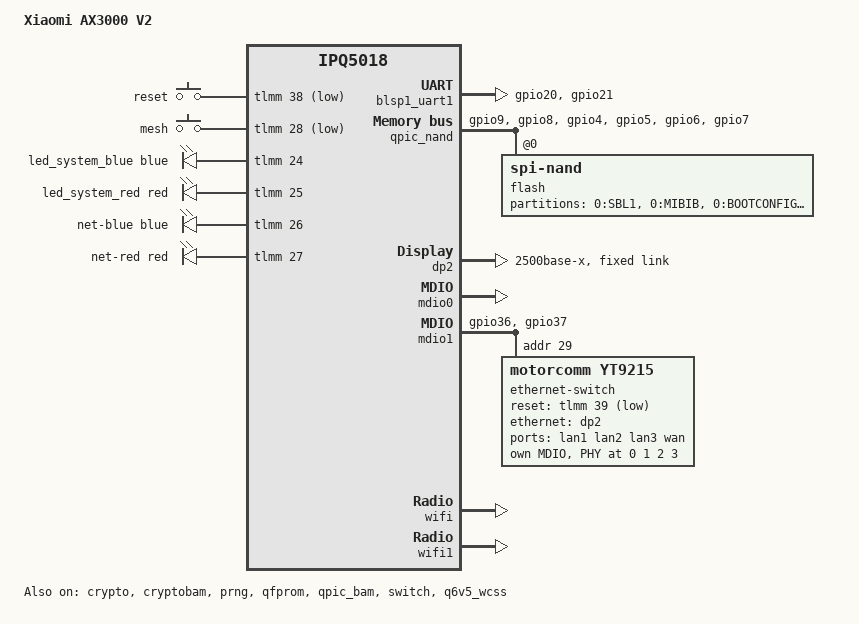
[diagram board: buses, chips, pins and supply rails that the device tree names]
/dts-v1/;

#include "ipq5018.dtsi"
#include "ipq5018-ess.dtsi"
#include "ipq5018-qcn6122.dtsi"

#include <dt-bindings/gpio/gpio.h>
#include <dt-bindings/input/input.h>
#include <dt-bindings/leds/common.h>

/ {
	model = "Xiaomi AX3000 V2";
	compatible = "xiaomi,ax3000-v2", "qcom,ipq5018";

	aliases {
		ethernet0 = &dp2;
		label-mac-device = &dp2;
		led-boot = &led_system_blue;
		led-failsafe = &led_system_red;
		led-running = &led_system_blue;
		led-upgrade = &led_system_red;
		serial0 = &blsp1_uart1;
	};

	chosen {
		bootargs-append = " root=/dev/ram0 coherent_pool=2M";
		bootargs-find-1 = "ubi.mtd=";
		bootargs-replace-1 = "stock-ubi.mtd=";
		bootargs-find-2 = "mtdparts=";
		bootargs-replace-2 = "stock-mtdparts=";
		stdout-path = "serial0:115200n8";
	};

	keys {
		compatible = "gpio-keys";
		pinctrl-0 = <&button_pins>;
		pinctrl-names = "default";

		reset {
			label = "reset";
			gpios = <&tlmm 38 GPIO_ACTIVE_LOW>;
			linux,code = <KEY_RESTART>;
			debounce-interval = <60>;
		};

		mesh {
			label = "mesh";
			gpios = <&tlmm 28 GPIO_ACTIVE_LOW>;
			linux,code = <KEY_WPS_BUTTON>;
			debounce-interval = <60>;
		};
	};

	leds {
		compatible = "gpio-leds";
		pinctrl-0 = <&led_pins>;
		pinctrl-names = "default";

		led_system_blue: system-blue {
			color = <LED_COLOR_ID_BLUE>;
			function = LED_FUNCTION_POWER;
			gpios = <&tlmm 24 GPIO_ACTIVE_HIGH>;
			default-state = "off";
		};

		led_system_red: system-red {
			color = <LED_COLOR_ID_RED>;
			function = LED_FUNCTION_POWER;
			gpios = <&tlmm 25 GPIO_ACTIVE_HIGH>;
			default-state = "off";
		};

		net-blue {
			color = <LED_COLOR_ID_BLUE>;
			function = LED_FUNCTION_WAN;
			gpios = <&tlmm 26 GPIO_ACTIVE_HIGH>;
			default-state = "off";
		};

		net-red {
			color = <LED_COLOR_ID_RED>;
			function = LED_FUNCTION_WAN;
			gpios = <&tlmm 27 GPIO_ACTIVE_HIGH>;
			default-state = "off";
		};
	};
};

&sleep_clk {
	clock-frequency = <32000>;
};

&xo_board_clk {
	clock-div = <4>;
	clock-mult = <1>;
};

&blsp1_uart1 {
	status = "okay";
	pinctrl-0 = <&serial_pins>;
	pinctrl-names = "default";
};

&crypto {
	status = "okay";
};

&cryptobam {
	status = "okay";
};

&prng {
	status = "okay";
};

&qfprom {
	status = "okay";
};

&qpic_bam {
	status = "okay";
};

&qpic_nand {
	status = "okay";
	pinctrl-0 = <&qpic_pins>;
	pinctrl-names = "default";

	flash@0 {
		compatible = "spi-nand";
		reg = <0>;
		nand-ecc-engine = <&qpic_nand>;
		nand-bus-width = <8>;

		partitions {
			compatible = "fixed-partitions";
			#address-cells = <1>;
			#size-cells = <1>;

			partition@0 { label = "0:SBL1"; reg = <0x00000000 0x00080000>; read-only; };
			partition@80000 { label = "0:MIBIB"; reg = <0x00080000 0x00080000>; read-only; };
			partition@100000 { label = "0:BOOTCONFIG"; reg = <0x00100000 0x00040000>; read-only; };
			partition@140000 { label = "0:BOOTCONFIG1"; reg = <0x00140000 0x00040000>; read-only; };
			partition@180000 { label = "0:QSEE"; reg = <0x00180000 0x00100000>; read-only; };
			partition@280000 { label = "0:QSEE_1"; reg = <0x00280000 0x00100000>; read-only; };
			partition@380000 { label = "0:DEVCFG"; reg = <0x00380000 0x00040000>; read-only; };
			partition@3c0000 { label = "0:DEVCFG_1"; reg = <0x003c0000 0x00040000>; read-only; };
			partition@400000 { label = "0:CDT"; reg = <0x00400000 0x00040000>; read-only; };
			partition@440000 { label = "0:CDT_1"; reg = <0x00440000 0x00040000>; read-only; };
			partition@480000 { label = "0:APPSBLENV"; reg = <0x00480000 0x00080000>; read-only; };
			partition@500000 { label = "0:APPSBL"; reg = <0x00500000 0x00140000>; read-only; };
			partition@640000 { label = "0:APPSBL_1"; reg = <0x00640000 0x00140000>; read-only; };

			partition@780000 {
				label = "0:ART";
				reg = <0x00780000 0x00100000>;
				read-only;

				nvmem-layout {
					compatible = "fixed-layout";
					#address-cells = <1>;
					#size-cells = <1>;

					mac_addr_dp2: macaddr@6 {
						reg = <0x6 0x6>;
					};
				};
			};

			partition@880000 { label = "0:TRAINING"; reg = <0x00880000 0x00080000>; read-only; };
			partition@900000 { label = "bdata"; reg = <0x00900000 0x00080000>; read-only; };
			partition@980000 { label = "crash"; reg = <0x00980000 0x00080000>; read-only; };
			partition@a00000 { label = "crash_syslog"; reg = <0x00a00000 0x00080000>; read-only; };
			partition@a80000 { label = "rootfs"; reg = <0x00a80000 0x01e00000>; read-only; };
			partition@2880000 { label = "rootfs_1"; reg = <0x02880000 0x01e00000>; read-only; };
			partition@4680000 { label = "overlay"; reg = <0x04680000 0x03980000>; read-only; };
		};
	};
};

&switch {
	status = "okay";
	switch_mac_mode = <MAC_MODE_SGMII_PLUS>;

	qcom,port_phyinfo {
		port@0 {
			port_id = <1>;
			mdiobus = <&mdio0>;
			phy_address = <7>;
			phy_dac = <0x10 0x10>;
		};

		port@1 {
			port_id = <2>;
			forced-speed = <2500>;
			forced-duplex = <1>;
		};
	};
};

&dp2 {
	status = "okay";
	nvmem-cells = <&mac_addr_dp2>;
	nvmem-cell-names = "mac-address";
	phy-mode = "2500base-x";

	fixed-link {
		speed = <2500>;
		full-duplex;
		pause;
	};
};

&ge_phy {
	qcom,dac-preset-short-cable;
};

&mdio0 {
	status = "okay";
};

&mdio1 {
	status = "okay";
	pinctrl-0 = <&mdio1_pins>;
	pinctrl-names = "default";

	ethernet-switch@1d {
		compatible = "motorcomm,yt9215";
		reg = <0x1d>;
		reset-gpios = <&tlmm 39 GPIO_ACTIVE_LOW>;
		reset-assert-us = <100000>;
		reset-deassert-us = <100000>;

		mdio {
			#address-cells = <1>;
			#size-cells = <0>;

			sw_phy0: ethernet-phy@0 { reg = <0>; };
			sw_phy1: ethernet-phy@1 { reg = <1>; };
			sw_phy2: ethernet-phy@2 { reg = <2>; };
			sw_phy3: ethernet-phy@3 { reg = <3>; };
		};

		ports {
			#address-cells = <1>;
			#size-cells = <0>;

			port@0 {
				reg = <0>;
				label = "lan1";
				phy-mode = "internal";
				phy-handle = <&sw_phy0>;
			};

			port@1 {
				reg = <1>;
				label = "lan2";
				phy-mode = "internal";
				phy-handle = <&sw_phy1>;
			};

			port@2 {
				reg = <2>;
				label = "lan3";
				phy-mode = "internal";
				phy-handle = <&sw_phy2>;
			};

			port@3 {
				reg = <3>;
				label = "wan";
				phy-mode = "internal";
				phy-handle = <&sw_phy3>;
			};

			port@8 {
				reg = <8>;
				ethernet = <&dp2>;
				phy-mode = "2500base-x";

				fixed-link {
					speed = <2500>;
					full-duplex;
					pause;
				};
			};
		};
	};
};

&tlmm {
	button_pins: button-state {
		pins = "gpio38", "gpio28";
		function = "gpio";
		drive-strength = <8>;
		bias-pull-up;
	};

	led_pins: led-state {
		pins = "gpio24", "gpio25", "gpio26", "gpio27";
		function = "gpio";
		drive-strength = <8>;
		bias-pull-down;
	};

	mdio1_pins: mdio-state {
		mdc-pins {
			pins = "gpio36";
			function = "mdc";
			drive-strength = <8>;
			bias-pull-up;
		};

		mdio-pins {
			pins = "gpio37";
			function = "mdio";
			drive-strength = <8>;
			bias-pull-up;
		};
	};

	qpic_pins: qpic-state {
		clock-pins {
			pins = "gpio9";
			function = "qspi_clk";
			drive-strength = <8>;
			bias-disable;
		};

		cs-pins {
			pins = "gpio8";
			function = "qspi_cs";
			drive-strength = <8>;
			bias-disable;
		};

		data-pins {
			pins = "gpio4", "gpio5", "gpio6", "gpio7";
			function = "qspi_data";
			drive-strength = <8>;
			bias-disable;
		};
	};

	serial_pins: uart-state {
		pins = "gpio20", "gpio21";
		function = "blsp0_uart0";
		drive-strength = <8>;
		bias-disable;
	};
};

&q6v5_wcss {
	status = "okay";
	boot-args = <2 4 2 18 0 0>;
};

&wifi {
	status = "okay";
	qcom,rproc = <&q6_wcss_pd1>;
	qcom,board_id = <0x24>;
	qcom,ath11k-calibration-variant = "Xiaomi-AX3000-V2";
	qcom,ath11k-fw-memory-mode = <2>;
	qcom,bdf-addr = <0x4c400000>;
	ieee80211-freq-limit = <2400000 2483000>;
};

&wifi1 {
	status = "okay";
	qcom,rproc = <&q6_wcss_pd2>;
	qcom,userpd-subsys-name = "q6v5_wcss_userpd2";
	qcom,board_id = <0x60>;
	qcom,ath11k-calibration-variant = "Xiaomi-AX3000-V2";
	qcom,ath11k-fw-memory-mode = <2>;
	qcom,bdf-addr = <0x4d100000>;
	qcom,m3-dump-addr = <0x4df00000>;
	ieee80211-freq-limit = <5150000 5895000>;
};
